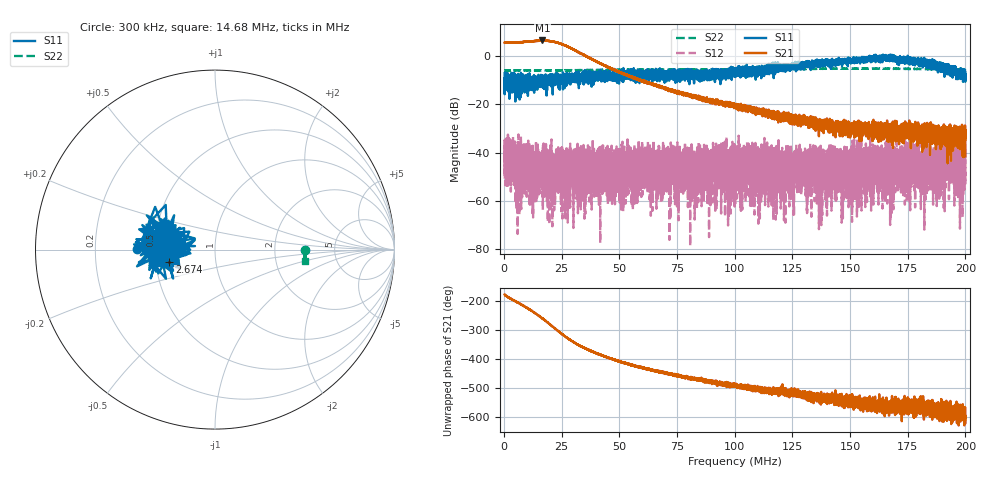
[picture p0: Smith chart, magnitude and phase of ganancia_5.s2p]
# Hz S DB R 50
! CMT, M5065, 19127446, 24.2.4/2
! Date: 10/29/2024 1:04:24 PM
! Data: Format (Calibration Info)
! Freq	S11:dB/Ang(F2)	S21:dB/Ang(F2)	S12:dB/Ang(F2)	S22:dB/Ang(F2)
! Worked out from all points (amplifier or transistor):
!   9000 points, 300 kHz to 200 MHz, reference 50 ohm
!   highest |S21| = 6.3 dB at 16.68 MHz (marker M1)
!   |S21| within 3 dB of that: start of sweep to 28.58 MHz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
!   unconditionally stable (mu >= 1): start of sweep to 158.5 MHz; 169.1 MHz to 175 MHz; 175 MHz to end of sweep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
!   at 33.59 MHz: K = 130.50, MAG = 2.7 dB, |S12| = -52.8 dB
!   at 100.2 MHz: K = 415.90, MAG = -19.3 dB, |S12| = -41.1 dB
!   at 200 MHz: K = 14504.87, MAG = -39.6 dB, |S12| = -51.7 dB
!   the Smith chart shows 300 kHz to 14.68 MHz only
!   S11 on the Smith chart (normalised r, x): 300 kHz: 0.40, +0.00; 2.674 MHz: 0.59, -0.09; 14.68 MHz: 0.61, +0.10
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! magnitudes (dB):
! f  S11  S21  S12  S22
! 300 kHz  -7.3  5.5  -48.7  -6.0
! 1.321 MHz  -9.9  5.5  -40.1  -6.0
! 2.674 MHz  -11.6  5.5  -34.5  -6.0
! 14.68 MHz  -12.1  6.2  -40.4  -5.9
! 16.68 MHz  -10.8  6.3  -43.9  -6.0
! 33.59 MHz  -9.0  0.8  -52.8  -6.0
! 66.87 MHz  -9.9  -12.4  -38.3  -5.8
! 68.58 MHz  -6.7  -13.3  -41.0  -5.7
! 70.71 MHz  -7.9  -13.6  -44.3  -5.8
! 85.05 MHz  -7.1  -17.8  -48.3  -5.7
! 89.29 MHz  -8.1  -19.0  -53.1  -5.7
! 93.1 MHz  -6.4  -19.3  -45.5  -5.7
! 100.2 MHz  -8.4  -21.3  -41.1  -5.7
! 117 MHz  -5.9  -24.0  -46.7  -5.6
! 119.6 MHz  -5.9  -24.9  -46.0  -5.6
! 124.7 MHz  -3.4  -25.0  -44.4  -5.5
! 133.4 MHz  -2.9  -27.7  -52.4  -5.5
! 136.8 MHz  -3.3  -29.8  -44.1  -5.4
! 166.7 MHz  -1.4  -33.7  -48.6  -5.4
! 196.2 MHz  -7.2  -34.9  -44.8  -5.6
! 199 MHz  -6.9  -34.3  -45.2  -5.6
! 200 MHz  -9.0  -41.6  -51.7  -5.5
